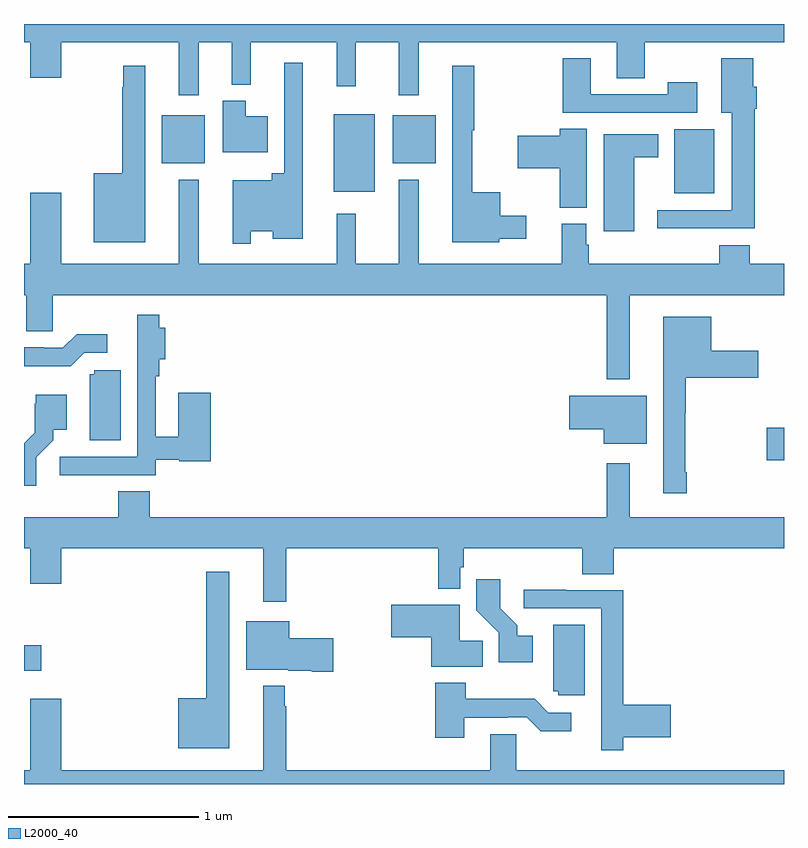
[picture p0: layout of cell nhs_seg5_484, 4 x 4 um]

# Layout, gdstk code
import gdstk
lib = gdstk.Library(unit=1e-6, precision=1e-09)
def R(c, l, rs):  # rectangles x0, y0, x1, y1
    for r in rs: c.add(gdstk.rectangle(r[:2], r[2:], *l))
def P(c, l, *ps):  # polygons
    for p in ps: c.add(gdstk.Polygon(p, *l))
L2000_40 = (2000, 40)

nhs_seg5_484 = lib.new_cell('nhs_seg5_484')
R(nhs_seg5_484, L2000_40, [(141,909.395,141.091,909.53), (144.909,910.502,145,910.673), (144.422,911.909,144.634,912.244), (142.631,911.915,142.846,912.325), (141.725,912.065,141.952,912.319), (142.94,912.065,143.167,912.319)])
P(nhs_seg5_484, L2000_40, [(141,912.704),(141.032,912.704),(141.032,912.516),(141.196,912.516),(141.196,912.704),(141.815,912.704),(141.815,912.423),(141.919,912.423),(141.919,912.704),(142.094,912.704),(142.094,912.479),(142.193,912.479),(142.193,912.704),(142.646,912.704),(142.646,912.471),(142.746,912.471),(142.746,912.704),(142.973,912.704),(142.973,912.423),(143.077,912.423),(143.077,912.704),(144.119,912.704),(144.119,912.514),(144.267,912.514),(144.267,912.704),(145,912.704),(145,912.799),(141,912.799)],
  [(144.846,912.354),(144.856,912.354),(144.856,912.468),(144.838,912.468),(144.838,912.619),(144.671,912.619),(144.671,912.332),(144.725,912.332),(144.725,911.82),(144.333,911.82),(144.333,911.723),(144.846,911.723)],
  [(144.544,912.493),(144.388,912.493),(144.388,912.429),(143.983,912.429),(143.983,912.619),(143.836,912.619),(143.836,912.333),(144.544,912.333)],
  [(142.194,911.708),(142.31,911.708),(142.31,911.669),(142.468,911.669),(142.468,912.595),(142.371,912.595),(142.371,912.013),(142.303,912.013),(142.303,911.977),(142.098,911.977),(142.098,911.643),(142.194,911.643)],
  [(141.637,912.58),(141.523,912.58),(141.523,912.467),(141.516,912.467),(141.516,912.013),(141.368,912.013),(141.368,911.651),(141.637,911.651)],
  [(143.502,911.669),(143.644,911.669),(143.644,911.791),(143.506,911.791),(143.506,911.914),(143.359,911.914),(143.359,912.239),(143.369,912.239),(143.369,912.58),(143.255,912.58),(143.255,911.651),(143.502,911.651)],
  [(142.282,912.313),(142.168,912.313),(142.168,912.394),(142.046,912.394),(142.046,912.125),(142.282,912.125)],
  [(143.962,912.248),(143.821,912.248),(143.821,912.212),(143.598,912.212),(143.598,912.041),(143.821,912.041),(143.821,911.833),(143.962,911.833)],
  [(144.211,912.098),(144.337,912.098),(144.337,912.22),(144.05,912.22),(144.05,911.708),(144.211,911.708)],
  [(141.15,911.372),(144.066,911.372),(144.066,910.928),(144.187,910.928),(144.187,911.372),(145,911.372),(145,911.536),(144.819,911.536),(144.819,911.635),(144.659,911.635),(144.659,911.536),(143.972,911.536),(143.972,911.637),(143.959,911.637),(143.959,911.748),(143.831,911.748),(143.831,911.536),(143.077,911.536),(143.077,911.98),(142.973,911.98),(142.973,911.536),(142.746,911.536),(142.746,911.8),(142.646,911.8),(142.646,911.536),(141.919,911.536),(141.919,911.98),(141.815,911.98),(141.815,911.536),(141.196,911.536),(141.196,911.911),(141.032,911.911),(141.032,911.536),(141,911.536),(141,911.372),(141.011,911.372),(141.011,911.182),(141.15,911.182)],
  [(141.413,910.425),(141.693,910.425),(141.693,910.506),(141.816,910.506),(141.816,910.498),(141.983,910.498),(141.983,910.858),(141.812,910.858),(141.812,910.627),(141.693,910.627),(141.693,910.946),(141.713,910.946),(141.713,911.035),(141.743,911.035),(141.743,911.2),(141.713,911.2),(141.713,911.269),(141.596,911.269),(141.596,911.046),(141.597,911.046),(141.597,910.521),(141.189,910.521),(141.189,910.423),(141.413,910.423)],
  [(144.487,910.441),(144.479,910.441),(144.479,910.753),(144.484,910.753),(144.484,910.937),(144.865,910.937),(144.865,911.079),(144.616,911.079),(144.616,911.257),(144.365,911.257),(144.365,910.329),(144.487,910.329)],
  [(141.318,911.07),(141.439,911.07),(141.439,911.167),(141.277,911.167),(141.204,911.094),(141.104,911.094),(141.104,911.097),(141,911.097),(141,910.998),(141.245,910.998)],
  [(141.508,910.977),(141.369,910.977),(141.369,910.956),(141.347,910.956),(141.347,910.608),(141.508,910.608)],
  [(141.064,910.519),(141.154,910.609),(141.154,910.664),(141.226,910.664),(141.226,910.849),(141.062,910.849),(141.062,910.8),(141.057,910.8),(141.057,910.649),(141,910.592),(141,910.368),(141.064,910.368)],
  [(144.277,910.843),(143.871,910.843),(143.871,910.666),(144.05,910.666),(144.05,910.589),(144.277,910.589)],
  [(142.381,910.04),(143.179,910.04),(143.179,909.827),(143.295,909.827),(143.295,909.939),(143.315,909.939),(143.315,910.04),(143.939,910.04),(143.939,909.904),(144.104,909.904),(144.104,910.04),(145,910.04),(145,910.204),(144.187,910.204),(144.187,910.486),(144.066,910.486),(144.066,910.204),(141.662,910.204),(141.662,910.34),(141.497,910.34),(141.497,910.204),(141,910.204),(141,910.04),(141.032,910.04),(141.032,909.852),(141.196,909.852),(141.196,910.04),(142.259,910.04),(142.259,909.759),(142.381,909.759)],
  [(142.081,909.916),(141.96,909.916),(141.96,909.25),(141.812,909.25),(141.812,908.987),(142.081,908.987)],
  [(143.677,909.58),(143.596,909.58),(143.596,909.635),(143.506,909.725),(143.506,909.877),(143.38,909.877),(143.38,909.714),(143.499,909.595),(143.499,909.44),(143.677,909.44)],
  [(144.155,909.044),(144.403,909.044),(144.403,909.215),(144.155,909.215),(144.155,909.819),(143.855,909.819),(143.855,909.822),(143.631,909.822),(143.631,909.723),(144.039,909.723),(144.039,909.198),(144.038,909.198),(144.038,908.976),(144.155,908.976)],
  [(143.414,909.554),(143.293,909.554),(143.293,909.742),(142.932,909.742),(142.932,909.572),(143.144,909.572),(143.144,909.416),(143.414,909.416)],
  [(142.627,909.567),(142.396,909.567),(142.396,909.655),(142.169,909.655),(142.169,909.401),(142.392,909.401),(142.392,909.395),(142.514,909.395),(142.514,909.389),(142.627,909.389)],
  [(143.95,909.637),(143.786,909.637),(143.786,909.288),(143.811,909.288),(143.811,909.267),(143.95,909.267)],
  [(143.317,909.147),(143.546,909.147),(143.546,909.15),(143.646,909.15),(143.719,909.077),(143.881,909.077),(143.881,909.174),(143.76,909.174),(143.687,909.247),(143.325,909.247),(143.325,909.331),(143.165,909.331),(143.165,909.042),(143.317,909.042)],
  [(145,908.872),(143.592,908.872),(143.592,909.062),(143.453,909.062),(143.453,908.872),(142.381,908.872),(142.381,909.209),(142.373,909.209),(142.373,909.316),(142.259,909.316),(142.259,908.872),(141.196,908.872),(141.196,909.247),(141.032,909.247),(141.032,908.872),(141,908.872),(141,908.799),(145,908.799)])

lib.write_gds('nhs_seg5_484.gds')
